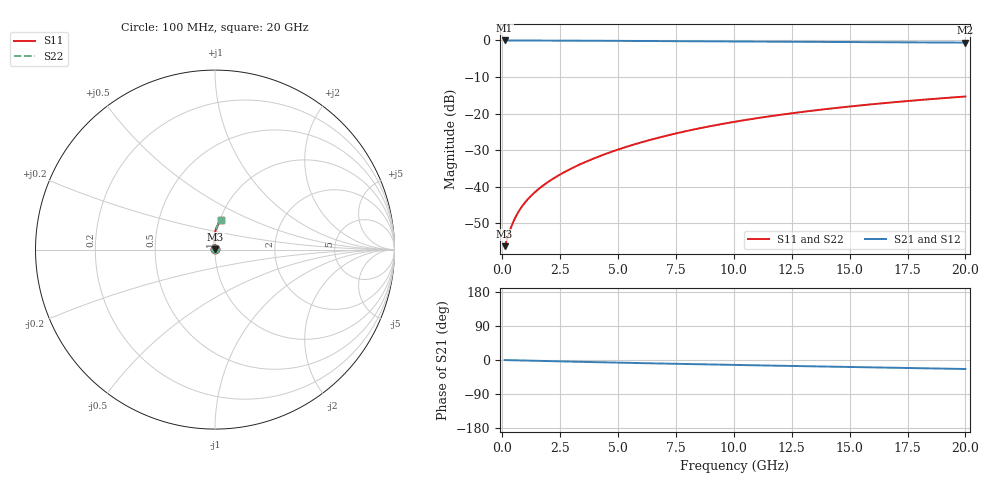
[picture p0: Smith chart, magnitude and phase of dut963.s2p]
! Touchstone file exported from HFSS 2024.1.0
!  File:  C:/UserFiles/LocalFiles/RDL_TSV_Batchsim/temp_RDL_bottom_963_1779942733.aedt
!  Generated:  12:34:13 PM May 28, 2026
!  Design:  RDL_bottom
!  Project:  temp_RDL_bottom_963_1779942733
!  Setup:  Setup1
!  Solution:  Sweep
! Variables:
!  dtsv = 10.80580581um
!  hbump = 3um
!  htsv = 57.03um
!  ldown = 386.49um
!  lrdl = 100um
!  p = 40
!  p1 = 41.9um
!  rhole = 1um
!  t = 450um
!  tdown = 4.51um
!  trdl = 3.915915916um
!  wdown = 27.04um
!  wrdl = 20um
# GHz S MA R 50.000000
! Terminal data exported
! Port[1] = RDL1_T1
! Port[2] = RDL1_T2
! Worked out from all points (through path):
!   200 points, 100 MHz to 20 GHz, reference 50 ohm
!   highest |S21| = -0.01 dB at 100 MHz (marker M1); lowest = -0.6 dB at 20 GHz (marker M2)
!   group delay of S21, straight-line fit = 3.24 ps
!   lowest |S11| = -56.3 dB at 100 MHz (marker M3), VSWR 1.00, Z = 50.1 + j0.0745 ohm
!   |S11| at or under -10 dB: start of sweep to end of sweep
!   |S22| runs from -56.3 to -15.3 dB; largest |S21 - S12| = 5.3e-15
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0.1  0.001537 28.9  0.9986 -0.2  0.9986 -0.2  0.001537 28.9
! Gamma 0 0 0 0
! Port Impedance 50 0 50 0
0.3  0.00237 57.8  0.9983 -0.5  0.9983 -0.5  0.002374 57.9
0.4  0.002897 64.1  0.9982 -0.6  0.9982 -0.6  0.002901 64.1
0.5  0.003444 68.1  0.9981 -0.7  0.9981 -0.7  0.003448 68.1
0.6  0.003997 71.0  0.998 -0.9  0.998 -0.9  0.004001 71.0
0.7  0.004549 73.1  0.9979 -1.0  0.9979 -1.0  0.004553 73.1
0.9  0.005646 76.3  0.9976 -1.3  0.9976 -1.3  0.005649 76.3
1.2  0.007276 79.8  0.9972 -1.8  0.9972 -1.8  0.007278 79.7
1.6  0.009468 83.3  0.9965 -2.3  0.9965 -2.3  0.009469 83.3
2.2  0.01289 87.3  0.9951 -3.2  0.9951 -3.2  0.01289 87.3
2.8  0.01655 90.2  0.9934 -4.0  0.9934 -4.0  0.01655 90.2
3.5  0.02115 92.7  0.9911 -5.0  0.9911 -5.0  0.02115 92.7
4.2  0.02611 94.3  0.9885 -5.9  0.9885 -5.9  0.02611 94.3
5  0.0322 95.4  0.9853 -7.0  0.9853 -7.0  0.0322 95.4
5.9  0.03952 95.9  0.9816 -8.1  0.9816 -8.1  0.03952 95.9
6.8  0.04725 95.8  0.9778 -9.2  0.9778 -9.2  0.04725 95.8
8.4  0.06176 94.7  0.9712 -11.1  0.9712 -11.1  0.06176 94.7
10.1  0.07782 92.7  0.9646 -13.1  0.9646 -13.1  0.07783 92.7
11.7  0.0932 90.5  0.9588 -14.9  0.9588 -14.9  0.09321 90.5
13.4  0.1096 88.0  0.9529 -16.7  0.9529 -16.7  0.1096 88.0
16.7  0.1409 83.1  0.9424 -20.3  0.9424 -20.3  0.1409 83.1
20  0.171 78.3  0.9326 -23.8  0.9326 -23.8  0.1711 78.4
